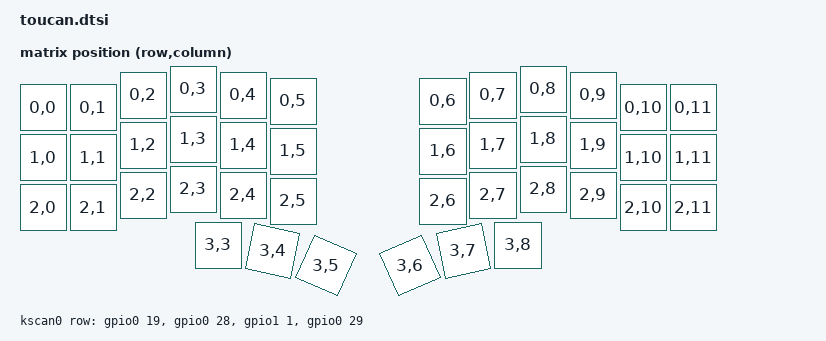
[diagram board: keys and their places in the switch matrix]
#include <input/processors.dtsi>
#include <dt-bindings/zmk/input_transform.h>
#include <dt-bindings/zmk/matrix_transform.h>
#include <physical_layouts.dtsi>
#include <behaviors/input_processor_gestures.dtsi>
#include <dt-bindings/input/input-event-codes.h>
#include <behaviors/input_gestures_accel.dtsi>


/ {
    chosen {
        zmk,kscan = &kscan0;
        zmk,physical-layout = &default_layout;
        //zmk,physical-layout = &physical_layout0;
    };

    kscan0: kscan_0 {
        compatible = "zmk,kscan-gpio-matrix";
        diode-direction = "col2row";
        wakeup-source;

    row-gpios
    = <&gpio0 19 (GPIO_ACTIVE_HIGH | GPIO_PULL_DOWN)>
    , <&gpio0 28 (GPIO_ACTIVE_HIGH | GPIO_PULL_DOWN)>
    , <&gpio1 1 (GPIO_ACTIVE_HIGH | GPIO_PULL_DOWN)>
    , <&gpio0 29 (GPIO_ACTIVE_HIGH | GPIO_PULL_DOWN)>
    ;
    };

    default_layout: default_layout {
        compatible = "zmk,physical-layout";
        display-name = "Default Layout";
        transform = <&default_transform>;

        keys  //                     w   h    x    y     rot    rx    ry
            = <&key_physical_attrs 100 100    0   37       0     0     0>
            , <&key_physical_attrs 100 100  100   37       0     0     0>
            , <&key_physical_attrs 100 100  200   12       0     0     0>
            , <&key_physical_attrs 100 100  300    0       0     0     0>
            , <&key_physical_attrs 100 100  400   12       0     0     0>
            , <&key_physical_attrs 100 100  500   24       0     0     0>
            , <&key_physical_attrs 100 100  800   24       0     0     0>
            , <&key_physical_attrs 100 100  900   12       0     0     0>
            , <&key_physical_attrs 100 100 1000    0       0     0     0>
            , <&key_physical_attrs 100 100 1100   12       0     0     0>
            , <&key_physical_attrs 100 100 1200   37       0     0     0>
            , <&key_physical_attrs 100 100 1300   37       0     0     0>
            , <&key_physical_attrs 100 100    0  137       0     0     0>
            , <&key_physical_attrs 100 100  100  137       0     0     0>
            , <&key_physical_attrs 100 100  200  112       0     0     0>
            , <&key_physical_attrs 100 100  300  100       0     0     0>
            , <&key_physical_attrs 100 100  400  112       0     0     0>
            , <&key_physical_attrs 100 100  500  124       0     0     0>
            , <&key_physical_attrs 100 100  800  124       0     0     0>
            , <&key_physical_attrs 100 100  900  112       0     0     0>
            , <&key_physical_attrs 100 100 1000  100       0     0     0>
            , <&key_physical_attrs 100 100 1100  112       0     0     0>
            , <&key_physical_attrs 100 100 1200  137       0     0     0>
            , <&key_physical_attrs 100 100 1300  137       0     0     0>
            , <&key_physical_attrs 100 100    0  237       0     0     0>
            , <&key_physical_attrs 100 100  100  237       0     0     0>
            , <&key_physical_attrs 100 100  200  212       0     0     0>
            , <&key_physical_attrs 100 100  300  200       0     0     0>
            , <&key_physical_attrs 100 100  400  212       0     0     0>
            , <&key_physical_attrs 100 100  500  224       0     0     0>
            , <&key_physical_attrs 100 100  800  224       0     0     0>
            , <&key_physical_attrs 100 100  900  212       0     0     0>
            , <&key_physical_attrs 100 100 1000  200       0     0     0>
            , <&key_physical_attrs 100 100 1100  212       0     0     0>
            , <&key_physical_attrs 100 100 1200  237       0     0     0>
            , <&key_physical_attrs 100 100 1300  237       0     0     0>
            , <&key_physical_attrs 100 100  350  312       0     0     0>
            , <&key_physical_attrs 100 100  450  312    1200   450   412>
            , <&key_physical_attrs 100 100  548  328    2400   548   433>
            , <&key_physical_attrs 100 100  752  328  (-2400)  852   433>
            , <&key_physical_attrs 100 100  850  312  (-1200)  950   412>
            , <&key_physical_attrs 100 100  950  312       0     0     0>
            ;
    };

    default_transform: keymap_transform_0 {
        compatible = "zmk,matrix-transform";
        columns = <12>;
        rows = <4>;
        // | SW1  | SW2  | SW3  | SW4  | SW5  | SW6  |   | SW6  | SW5  | SW4  | SW3  | SW2  | SW1  |
        // | SW7  | SW8  | SW9  | SW10 | SW11 | SW12 |   | SW12 | SW11 | SW10 | SW9  | SW8  | SW7  |
        // | SW13 | SW14 | SW15 | SW16 | SW17 | SW18 |   | SW18 | SW17 | SW16 | SW15 | SW14 | SW13 |
        //                      | SW19 | SW20 | SW21 |   | SW21 | SW20 | SW19 |
                map = <
        RC(0,0) RC(0,1) RC(0,2) RC(0,3) RC(0,4) RC(0,5)  RC(0,6) RC(0,7) RC(0,8) RC(0,9) RC(0,10) RC(0,11)
        RC(1,0) RC(1,1) RC(1,2) RC(1,3) RC(1,4) RC(1,5)  RC(1,6) RC(1,7) RC(1,8) RC(1,9) RC(1,10) RC(1,11)
        RC(2,0) RC(2,1) RC(2,2) RC(2,3) RC(2,4) RC(2,5)  RC(2,6) RC(2,7) RC(2,8) RC(2,9) RC(2,10) RC(2,11)
                                RC(3,3) RC(3,4) RC(3,5)  RC(3,6) RC(3,7) RC(3,8)
        >;
    };
};

/ {
    split_inputs {
        #address-cells = <1>;
        #size-cells = <0>;

        glidepoint_split: glidepoint_split@0 {
            compatible = "zmk,input-split";
            reg = <0>;
        };
    };

    glidepoint_listener: glidepoint_listener {
        compatible = "zmk,input-listener";
        status = "disabled";
        device = <&glidepoint_split>;
        input-processors = <
            &touch_processor
            &pointer_accel
            &zip_xy_scaler 3 2
        >;
        scroller {
            layers = <1 2>;
            input-processors = <
                &zip_xy_to_scroll_mapper
                &zip_scroll_scaler 1 7
                &zip_scroll_transform (INPUT_TRANSFORM_X_INVERT | INPUT_TRANSFORM_Y_INVERT)
            >;
        };

        base {
            layers = <0>;
            input-processors = <&touch_processor>;
        };
    };

    input_processors {

        touch_processor: touch_processor {
            compatible = "zmk,input-processor-behaviors";
            #input-processor-cells = <0>;
            codes = <INPUT_BTN_TOUCH>;
        bindings = <&mo 4>;
        };
    
    };
};

&pointer_accel {
    input-type = <INPUT_EV_REL>;
    codes = <INPUT_REL_X INPUT_REL_Y>;

    sensitivity           = <1000>;  // 2.0x（abs-rel-divisor=2 で半減した入力を補正）
    min-factor            = <200>;    // 0.85x：低速は少し減速（精密操作）
    max-factor            = <6000>;   // 3.0x：高速は控えめ（Macらしい自然さ）
    speed-threshold       = <1500>;    // 早めに加速開始（divisor=2 に合わせて半減）
    speed-max             = <1500>;   // 中〜高速でmax到達（同上）
    y-boost               = <1300>;   // 1.05x：縦を僅かにブースト
    acceleration-exponent = <2>;      // 二次関数（滑らかで自然）
    sensor-dpi            = <200>;
};

&zip_gestures {
    tap-detection;
    tap-timout-ms = <150>;
    prevent_movement_during_tap;

    circular-scroll;
    circular-scroll-rim-percent = <20>;
    circular-scroll-width = <1024>;
    circular-scroll-height = <1024>;
};
